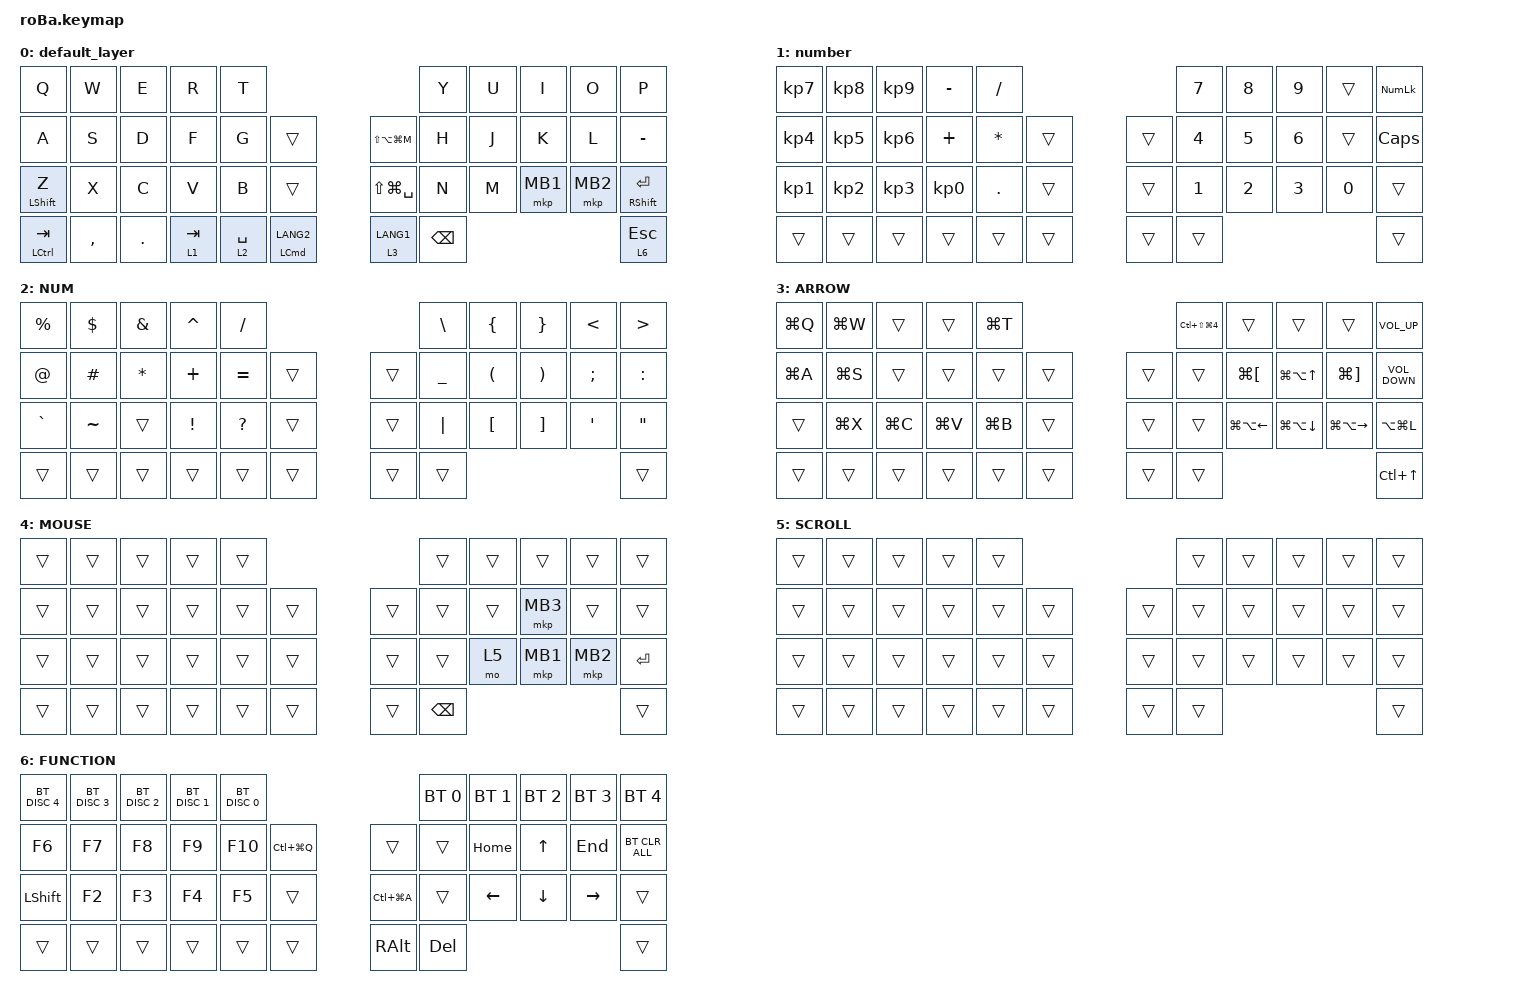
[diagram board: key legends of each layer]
#include <behaviors.dtsi>
#include <dt-bindings/zmk/bt.h>
#include <dt-bindings/zmk/keys.h>
#include <dt-bindings/zmk/pointing.h>

#define MOUSE 4
#define SCROLL 5
#define NUM 6

&mt {
    flavor = "balanced";
    tapping-term-ms = <150>;
    quick-tap-ms = <0>;
};

/ {
    combos {
        compatible = "zmk,combos";

        tab {
            bindings = <&kp TAB>;
            key-positions = <11 12>;
        };

        shift_tab {
            bindings = <&kp LS(TAB)>;
            key-positions = <12 13>;
        };

        muhennkann {
            bindings = <&to_layer_0 INT_MUHENKAN>;
            key-positions = <11 10>;
        };

        double_quotation {
            bindings = <&kp DOUBLE_QUOTES>;
            key-positions = <20 21>;
        };

        eq {
            bindings = <&kp EQUAL>;
            key-positions = <24 25>;
        };
    };

    macros {
        to_layer_0: to_layer_0 {
            compatible = "zmk,behavior-macro-one-param";
            #binding-cells = <1>;
            bindings = <&to 0 &macro_param_1to1 &kp MACRO_PLACEHOLDER>;
            label = "TO_LAYER_0";
        };
    };

    behaviors {
        lt_to_layer_0: lt_to_layer_0 {
            compatible = "zmk,behavior-hold-tap";
            label = "LAYER_TAP_TO_0";
            bindings = <&mo>, <&to_layer_0>;

            #binding-cells = <2>;
            tapping-term-ms = <150>;
        };
    };

    keymap {
        compatible = "zmk,keymap";

        default_layer {
            bindings = <
&kp Q             &kp W      &kp E       &kp R                 &kp T                                                       &kp Y          &kp U  &kp I     &kp O     &kp P
&kp A             &kp S      &kp D       &kp F                 &kp G        &trans                      &kp LS(LA(LG(M)))  &kp H          &kp J  &kp K     &kp L     &kp MINUS
&mt LEFT_SHIFT Z  &kp X      &kp C       &kp V                 &kp B        &trans                      &kp LS(LG(SPACE))  &kp N          &kp M  &mkp MB1  &mkp MB2  &mt RIGHT_SHIFT ENTER
&mt LCTRL TAB     &kp COMMA  &kp PERIOD  &lt_to_layer_0 1 TAB  &lt 2 SPACE  &mt LEFT_COMMAND LANG2      &lt 3 LANG1        &kp BACKSPACE                             &lt 6 ESC
            >;
        };

        number {
            bindings = <
&kp KP_NUMBER_7  &kp KP_NUMBER_8  &kp KP_NUMBER_9  &kp MINUS        &kp SLASH                       &kp N7        &kp N8        &kp N9        &trans  &kp KP_NUMLOCK
&kp KP_NUMBER_4  &kp KP_NUMBER_5  &kp KP_NUMBER_6  &kp PLUS         &kp ASTRK   &trans      &trans  &kp NUMBER_4  &kp N5        &kp NUMBER_6  &trans  &kp CAPSLOCK
&kp KP_NUMBER_1  &kp KP_NUMBER_2  &kp KP_NUMBER_3  &kp KP_NUMBER_0  &kp PERIOD  &trans      &trans  &kp NUMBER_1  &kp NUMBER_2  &kp NUMBER_3  &kp N0  &trans
&trans           &trans           &trans           &trans           &trans      &trans      &trans  &trans                                            &trans
            >;
        };

        NUM {
            bindings = <
&kp PERCENT  &kp DOLLAR  &kp AMPERSAND  &kp CARET        &kp SLASH                         &kp BACKSLASH   &kp LEFT_BRACE        &kp RIGHT_BRACE        &kp LESS_THAN     &kp GREATER_THAN
&kp AT_SIGN  &kp HASH    &kp ASTERISK   &kp PLUS         &kp EQUAL     &trans      &trans  &kp UNDERSCORE  &kp LEFT_PARENTHESIS  &kp RIGHT_PARENTHESIS  &kp SEMICOLON     &kp COLON
&kp GRAVE    &kp TILDE   &trans         &kp EXCLAMATION  &kp QUESTION  &trans      &trans  &kp PIPE        &kp LEFT_BRACKET      &kp RIGHT_BRACKET      &kp SINGLE_QUOTE  &kp DOUBLE_QUOTES
&trans       &trans      &trans         &trans           &trans        &trans      &trans  &trans                                                                         &trans
            >;
        };

        ARROW {
            bindings = <
&kp LG(Q)  &kp LG(W)  &trans     &trans     &kp LG(T)                      &kp LC(LS(LG(NUMBER_4)))  &trans                  &trans                  &trans                   &kp C_VOL_UP
&kp LG(A)  &kp LG(S)  &trans     &trans     &trans     &trans      &trans  &trans                    &kp LG(LEFT_BRACKET)    &kp LG(LA(UP_ARROW))    &kp LG(RIGHT_BRACKET)    &kp C_VOLUME_DOWN
&trans     &kp LG(X)  &kp LG(C)  &kp LG(V)  &kp LG(B)  &trans      &trans  &trans                    &kp LG(LA(LEFT_ARROW))  &kp LG(LA(DOWN_ARROW))  &kp LG(LA(RIGHT_ARROW))  &kp LA(LG(L))
&trans     &trans     &trans     &trans     &trans     &trans      &trans  &trans                                                                                             &kp LC(UP_ARROW)
            >;
        };

        MOUSE {
            bindings = <
&trans  &trans  &trans  &trans  &trans                      &trans         &trans  &trans    &trans    &trans
&trans  &trans  &trans  &trans  &trans  &trans      &trans  &trans         &trans  &mkp MB3  &trans    &trans
&trans  &trans  &trans  &trans  &trans  &trans      &trans  &trans         &mo 5   &mkp MB1  &mkp MB2  &kp ENTER
&trans  &trans  &trans  &trans  &trans  &trans      &trans  &kp BACKSPACE                              &trans
            >;
        };

        SCROLL {
            bindings = <
&trans  &trans  &trans  &trans  &trans                      &trans  &trans  &trans  &trans  &trans
&trans  &trans  &trans  &trans  &trans  &trans      &trans  &trans  &trans  &trans  &trans  &trans
&trans  &trans  &trans  &trans  &trans  &trans      &trans  &trans  &trans  &trans  &trans  &trans
&trans  &trans  &trans  &trans  &trans  &trans      &trans  &trans                          &trans
            >;
        };

        FUNCTION {
            bindings = <
&bt BT_DISC 4   &bt BT_DISC 3  &bt BT_DISC 2  &bt BT_DISC 1  &bt BT_DISC 0                                    &bt BT_SEL 0  &bt BT_SEL 1    &bt BT_SEL 2    &bt BT_SEL 3     &bt BT_SEL 4
&kp F6          &kp F7         &kp F8         &kp F9         &kp F10        &kp LC(LG(Q))      &trans         &trans        &kp HOME        &kp UP_ARROW    &kp END          &bt BT_CLR_ALL
&kp LEFT_SHIFT  &kp F2         &kp F3         &kp F4         &kp F5         &trans             &kp LC(LG(A))  &trans        &kp LEFT_ARROW  &kp DOWN_ARROW  &kp RIGHT_ARROW  &trans
&trans          &trans         &trans         &trans         &trans         &trans             &kp RIGHT_ALT  &kp DELETE                                                     &trans
            >;
        };
    };
};
